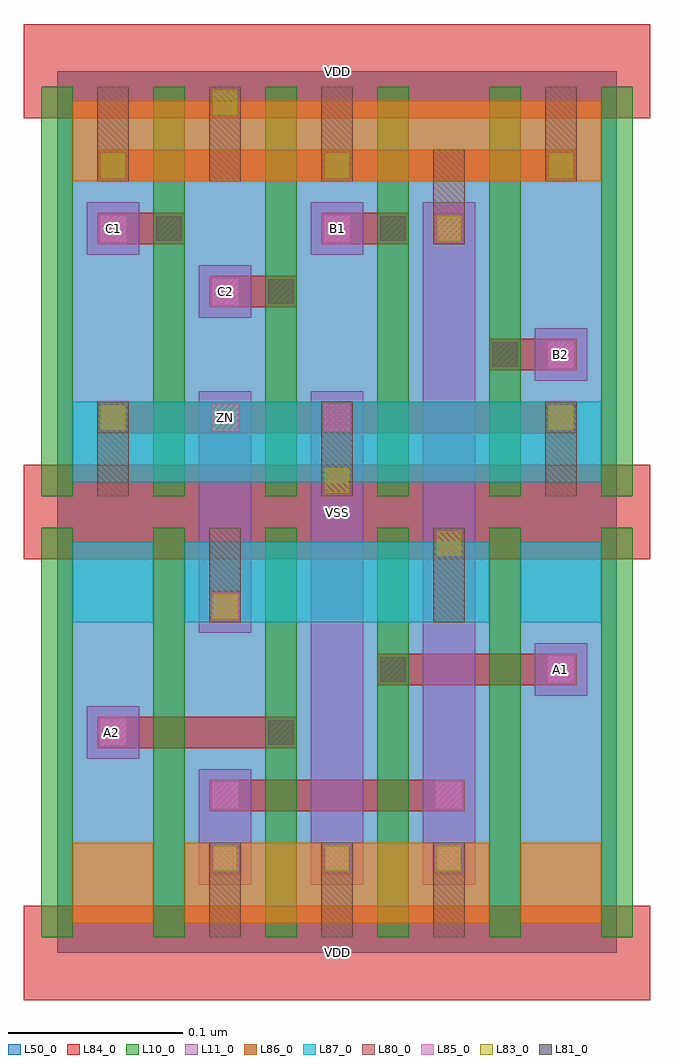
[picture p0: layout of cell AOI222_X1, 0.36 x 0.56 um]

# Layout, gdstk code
import gdstk
lib = gdstk.Library(unit=1e-6, precision=1e-09)
def R(c, l, rs):  # rectangles x0, y0, x1, y1
    for r in rs: c.add(gdstk.rectangle(r[:2], r[2:], *l))
def A(c, l, x, y, w, h, nx, ny, dx, dy):  # array of equal rectangles
    R(c, l, [(x+i*dx, y+j*dy, x+i*dx+w, y+j*dy+h) for i in range(nx) for j in range(ny)])
L10_0 = (10, 0)
L11_0 = (11, 0)
L50_0 = (50, 0)
L80_0 = (80, 0)
L81_0 = (81, 0)
L83_0 = (83, 0)
L84_0 = (84, 0)
L85_0 = (85, 0)
L86_0 = (86, 0)
L87_0 = (87, 0)

aoi222_x1 = lib.new_cell('AOI222_X1')
A(aoi222_x1, L10_0, -0.009, 0.009, 0.018, 0.234, 6, 2, 0.064, 0.252)
R(aoi222_x1, L11_0, [(0.081,0.039,0.111,0.105), (0.145,0.039,0.175,0.321), (0.209,0.039,0.239,0.429), (0.017,0.111,0.047,0.141), (0.273,0.147,0.303,0.177), (0.081,0.183,0.111,0.321), (0.273,0.327,0.303,0.357), (0.081,0.363,0.111,0.393), (0.017,0.399,0.047,0.429), (0.145,0.399,0.175,0.429)])
R(aoi222_x1, L50_0, [(0,0,0.32,0.504)])
A(aoi222_x1, L80_0, 0.087, 0.009, 0.018, 0.054, 3, 1, 0.064, 0)
A(aoi222_x1, L80_0, 0.023, 0.261, 0.018, 0.054, 3, 1, 0.128, 0)
A(aoi222_x1, L80_0, 0.023, 0.441, 0.018, 0.054, 3, 1, 0.064, 0)
R(aoi222_x1, L80_0, [(0.087,0.189,0.105,0.243), (0.215,0.189,0.233,0.243), (0.215,0.405,0.233,0.459), (0.279,0.441,0.297,0.495)])
R(aoi222_x1, L81_0, [(0.121,0.119,0.135,0.133), (0.185,0.155,0.199,0.169), (0.249,0.335,0.263,0.349), (0.121,0.371,0.135,0.385), (0.057,0.407,0.071,0.421), (0.185,0.407,0.199,0.421)])
A(aoi222_x1, L83_0, 0.089, 0.047, 0.014, 0.014, 3, 1, 0.064, 0)
A(aoi222_x1, L83_0, 0.025, 0.443, 0.014, 0.014, 3, 1, 0.128, 0)
R(aoi222_x1, L83_0, [(0.089,0.191,0.103,0.205), (0.217,0.227,0.231,0.241), (0.153,0.263,0.167,0.277), (0.025,0.299,0.039,0.313), (0.281,0.299,0.295,0.313), (0.217,0.407,0.231,0.421), (0.089,0.479,0.103,0.493)])
A(aoi222_x1, L84_0, -0.019, -0.027, 0.358, 0.054, 1, 3, 0, 0.252)
A(aoi222_x1, L84_0, 0.087, 0.045, 0.018, 0.018, 3, 1, 0.064, 0)
R(aoi222_x1, L84_0, [(0.087,0.081,0.233,0.099), (0.023,0.117,0.137,0.135), (0.183,0.153,0.297,0.171), (0.087,0.189,0.105,0.207), (0.023,0.297,0.297,0.315), (0.247,0.333,0.297,0.351), (0.087,0.369,0.137,0.387), (0.023,0.405,0.073,0.423), (0.151,0.405,0.201,0.423), (0.215,0.405,0.233,0.423), (0.023,0.441,0.297,0.459)])
A(aoi222_x1, L85_0, 0.088, 0.046, 0.016, 0.016, 3, 1, 0.064, 0)
A(aoi222_x1, L85_0, 0.088, 0.082, 0.016, 0.016, 1, 3, 0, 0.108)
R(aoi222_x1, L85_0, [(0.216,0.082,0.232,0.098), (0.024,0.118,0.04,0.134), (0.28,0.154,0.296,0.17), (0.152,0.298,0.168,0.314), (0.28,0.334,0.296,0.35), (0.088,0.37,0.104,0.386), (0.024,0.406,0.04,0.422), (0.152,0.406,0.168,0.422), (0.216,0.406,0.232,0.422)])
R(aoi222_x1, L86_0, [(0.009,0.017,0.055,0.063), (0.073,0.017,0.247,0.063), (0.265,0.017,0.311,0.063), (0.009,0.441,0.311,0.487)])
R(aoi222_x1, L87_0, [(0.009,0.189,0.055,0.235), (0.073,0.189,0.247,0.235), (0.265,0.189,0.311,0.235), (0.009,0.269,0.311,0.315)])
aoi222_x1.add(gdstk.Label('VSS', (0.16,0.252), layer=88, texttype=0))
aoi222_x1.add(gdstk.Label('VDD', (0.16,0), layer=88, texttype=0))
aoi222_x1.add(gdstk.Label('VDD', (0.16,0.504), layer=88, texttype=0))
aoi222_x1.add(gdstk.Label('A2', (0.031,0.126), layer=31, texttype=0))
aoi222_x1.add(gdstk.Label('C1', (0.032,0.414), layer=31, texttype=0))
aoi222_x1.add(gdstk.Label('C2', (0.096,0.378), layer=31, texttype=0))
aoi222_x1.add(gdstk.Label('A1', (0.288,0.162), layer=31, texttype=0))
aoi222_x1.add(gdstk.Label('B2', (0.288,0.342), layer=31, texttype=0))
aoi222_x1.add(gdstk.Label('B1', (0.16,0.414), layer=31, texttype=0))
aoi222_x1.add(gdstk.Label('ZN', (0.096,0.306), layer=31, texttype=0))

lib.write_gds('AOI222_X1.gds')
